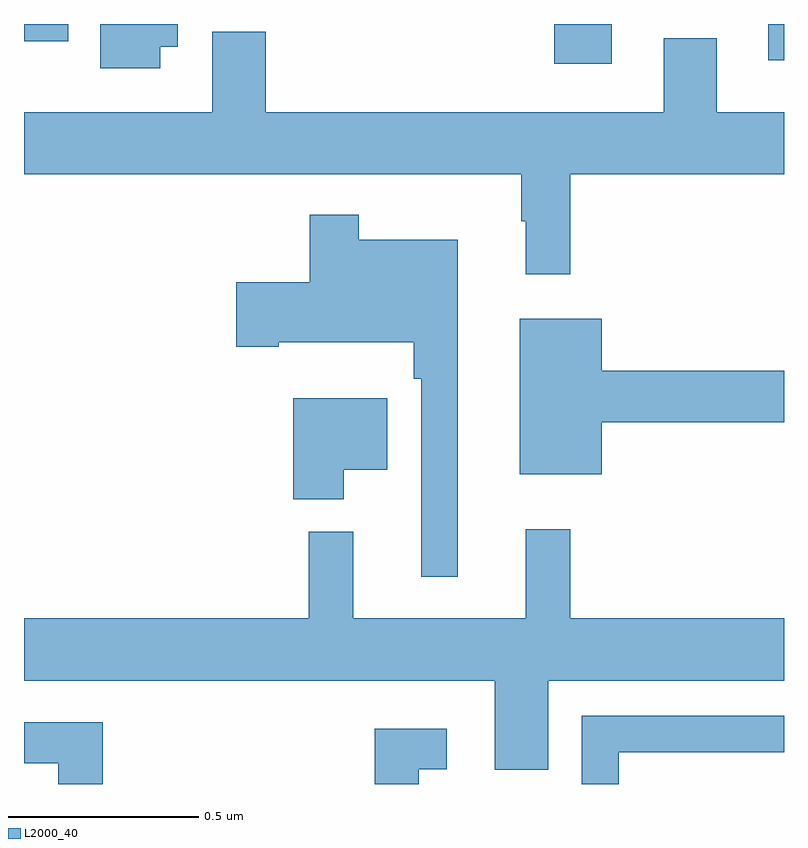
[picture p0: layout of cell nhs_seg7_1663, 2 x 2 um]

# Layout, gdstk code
import gdstk
lib = gdstk.Library(unit=1e-6, precision=1e-09)
def R(c, l, rs):  # rectangles x0, y0, x1, y1
    for r in rs: c.add(gdstk.rectangle(r[:2], r[2:], *l))
def P(c, l, *ps):  # polygons
    for p in ps: c.add(gdstk.Polygon(p, *l))
L2000_40 = (2000, 40)

nhs_seg7_1663 = lib.new_cell('nhs_seg7_1663')
R(nhs_seg7_1663, L2000_40, [(135.395,1012.896,135.547,1013), (135.959,1012.904,136,1013), (134,1012.955,134.116,1013)])
P(nhs_seg7_1663, L2000_40, [(134.359,1012.94),(134.404,1012.94),(134.404,1013),(134.201,1013),(134.201,1012.884),(134.359,1012.884)],
  [(135.437,1012.604),(136,1012.604),(136,1012.768),(135.823,1012.768),(135.823,1012.963),(135.683,1012.963),(135.683,1012.768),(134.636,1012.768),(134.636,1012.98),(134.495,1012.98),(134.495,1012.768),(134,1012.768),(134,1012.604),(135.309,1012.604),(135.309,1012.481),(135.32,1012.481),(135.32,1012.341),(135.437,1012.341)],
  [(135.142,1012.432),(134.881,1012.432),(134.881,1012.498),(134.752,1012.498),(134.752,1012.321),(134.559,1012.321),(134.559,1012.151),(134.671,1012.151),(134.671,1012.163),(135.025,1012.163),(135.025,1012.067),(135.045,1012.067),(135.045,1011.546),(135.142,1011.546)],
  [(135.52,1011.952),(136,1011.952),(136,1012.088),(135.52,1012.088),(135.52,1012.225),(135.305,1012.225),(135.305,1011.815),(135.52,1011.815)],
  [(134.842,1011.827),(134.956,1011.827),(134.956,1012.015),(134.708,1012.015),(134.708,1011.749),(134.842,1011.749)],
  [(135.379,1011.272),(136,1011.272),(136,1011.436),(135.437,1011.436),(135.437,1011.67),(135.32,1011.67),(135.32,1011.436),(134.867,1011.436),(134.867,1011.664),(134.749,1011.664),(134.749,1011.436),(134,1011.436),(134,1011.272),(135.239,1011.272),(135.239,1011.037),(135.379,1011.037)],
  [(135.565,1011.084),(136,1011.084),(136,1011.18),(135.468,1011.18),(135.468,1011),(135.565,1011)],
  [(134.207,1011.162),(134,1011.162),(134,1011.054),(134.09,1011.054),(134.09,1011),(134.207,1011)],
  [(135.039,1011.039),(135.112,1011.039),(135.112,1011.145),(134.923,1011.145),(134.923,1011),(135.039,1011)])

lib.write_gds('nhs_seg7_1663.gds')
